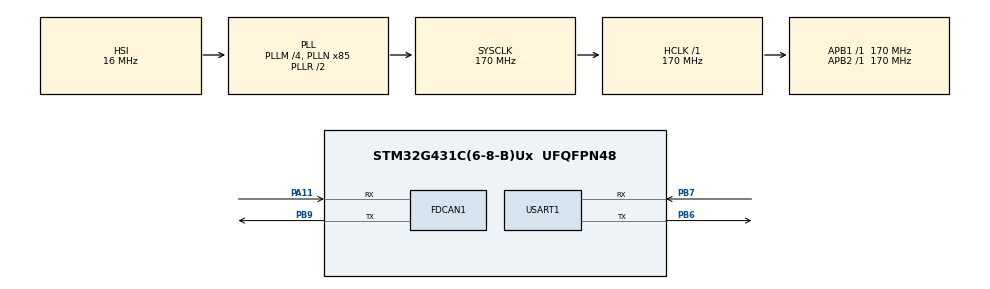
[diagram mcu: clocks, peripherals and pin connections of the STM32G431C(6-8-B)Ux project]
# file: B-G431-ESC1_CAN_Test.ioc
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FDCAN1.CalculateBaudRateNominal=500000
FDCAN1.CalculateTimeBitNominal=2000
FDCAN1.CalculateTimeQuantumNominal=100.0
FDCAN1.NominalPrescaler=17
FDCAN1.NominalTimeSeg1=17
FDCAN1.NominalTimeSeg2=2
FREERTOS.Tasks01=defaultTask,0,128,StartDefaultTask,Default,NULL,Dynamic,NULL,NULL
FREERTOS.configTOTAL_HEAP_SIZE=16384
Mcu.Family=STM32G4
Mcu.Name=STM32G431C(6-8-B)Ux
Mcu.Package=UFQFPN48
NVIC.FDCAN1_IT0_IRQn=true\:5\:0\:true\:false\:true\:true\:true\:true\:true
NVIC.FDCAN1_IT1_IRQn=true\:5\:0\:true\:false\:true\:true\:true\:true\:true
NVIC.PriorityGroup=NVIC_PRIORITYGROUP_4
NVIC.TIM1_UP_TIM16_IRQn=true\:15\:0\:false\:false\:true\:false\:false\:true\:true
NVIC.TimeBase=TIM1_UP_TIM16_IRQn
NVIC.TimeBaseIP=TIM1
NVIC.USART1_IRQn=true\:5\:0\:true\:false\:true\:true\:true\:true\:true
PA11.Mode=FDCAN_Activate
PA11.Signal=FDCAN1_RX
PB6.Mode=Asynchronous
PB6.Signal=USART1_TX
PB7.Mode=Asynchronous
PB7.Signal=USART1_RX
PB9.Mode=FDCAN_Activate
PB9.Signal=FDCAN1_TX
ProjectManager.HeapSize=0x200
ProjectManager.StackSize=0x400
ProjectManager.TargetToolchain=CMake
RCC.ADC12Freq_Value=170000000
RCC.AHBFreq_Value=170000000
RCC.APB1Freq_Value=170000000
RCC.APB1TimFreq_Value=170000000
RCC.APB2Freq_Value=170000000
RCC.APB2TimFreq_Value=170000000
RCC.CortexFreq_Value=170000000
RCC.EXTERNAL_CLOCK_VALUE=12288000
RCC.HCLKFreq_Value=170000000
RCC.HSE_VALUE=8000000
RCC.HSI48_VALUE=48000000
RCC.HSI_VALUE=16000000
RCC.LSE_VALUE=32768
RCC.PLLM=RCC_PLLM_DIV4
RCC.PLLN=85
RCC.SYSCLKFreq_VALUE=170000000
RCC.SYSCLKSource=RCC_SYSCLKSOURCE_PLLCLK
RCC.USBFreq_Value=170000000
RCC.VCOOutputFreq_Value=340000000
USART1.VirtualMode-Asynchronous=VM_ASYNC
VP_FREERTOS_VS_CMSIS_V1.Mode=CMSIS_V1
VP_SYS_VS_DBSignals.Mode=DisableDeadBatterySignals
VP_SYS_VS_tim1.Mode=TIM1
board=custom

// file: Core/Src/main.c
/* USER CODE BEGIN Header */
/**
  ******************************************************************************
  * @file           : main.c
  * @brief          : Main program body
  ******************************************************************************
  * @attention
  *
  * Copyright (c) 2026 STMicroelectronics.
  * All rights reserved.
  *
  * This software is licensed under terms that can be found in the LICENSE file
  * in the root directory of this software component.
  * If no LICENSE file comes with this software, it is provided AS-IS.
  *
  ******************************************************************************
  */
/* USER CODE END Header */
#include "main.h"
#include "cmsis_os.h"
#include "fdcan.h"
#include "usart.h"
#include "gpio.h"

/* USER CODE BEGIN Includes */
#include "slave_driver.h"
#include "commander.h"
#include "stdio.h"
/* USER CODE END Includes */

/* USER CODE BEGIN PV */
TaskHandle_t task_esc_init_handle;
TaskHandle_t task_slave_monitor_handle;
TaskHandle_t task_handle_commands;

__attribute__((used)) SlaveState_t esc_status_0 = {0};
__attribute__((used)) SlaveState_t esc_status_1 = {0};

SlaveState_t* const esc_status_ptr[2] = {&esc_status_0, &esc_status_1};

/* USER CODE END PV */

void SystemClock_Config(void);
void MX_FREERTOS_Init(void);
/* USER CODE BEGIN PFP */
static void commander_task(void *pvParameters);
static void esc_init_task(void *pvParameters);
static void slave_monitor_task(void *pvParameters);
/* USER CODE END PFP */

/* USER CODE BEGIN 0 */
int _write(int file, char *ptr, int len)
{
    uint8_t cr = '\r';
    for (int i = 0; i < len; i++)
    {
        if (ptr[i] == '\n'){
          HAL_UART_Transmit(&huart1, &cr, 1, HAL_MAX_DELAY);
          // ITM_SendChar('\r');
        }
        // ITM_SendChar(ptr[i]);
        HAL_UART_Transmit(&huart1, (uint8_t *)&ptr[i], 1, HAL_MAX_DELAY);
    }
    return len;
}
/* USER CODE END 0 */

int main(void)
{

  /* USER CODE BEGIN 1 */
  BaseType_t status;
  /* USER CODE END 1 */

  /* MCU Configuration--------------------------------------------------------*/

  /* Reset of all peripherals, Initializes the Flash interface and the Systick. */
  HAL_Init();

  /* Configure the system clock */
  SystemClock_Config();

  /* Initialize all configured peripherals */
  MX_GPIO_Init();
  MX_FDCAN1_Init();
  MX_USART1_UART_Init();
  /* USER CODE BEGIN 2 */
  printf("Starting system...\r\n");

  enableTerminator(true);

  SlaveDriver_Init(&hfdcan1);

  Commander_Init(&huart1);

  status = xTaskCreate(commander_task, "CommanderTask", 1024, NULL, 2, &task_handle_commands);
  configASSERT(status == pdPASS);

  // Zadanie inicjalizacji ESC
  status = xTaskCreate(esc_init_task, "ESC_Init_Task", 1024, NULL, 6, &task_esc_init_handle);
  configASSERT(status == pdPASS);

  status = xTaskCreate(slave_monitor_task, "SlaveMonitorTask", 1024, NULL, 5, &task_slave_monitor_handle);
  configASSERT(status == pdPASS);

  /* USER CODE END 2 */

  /* Call init function for freertos objects (in cmsis_os2.c) */
  MX_FREERTOS_Init();

  /* Start scheduler */
  osKernelStart();

  /* We should never get here as control is now taken by the scheduler */

  /* Infinite loop */
  while (1)
  {

  }
}

void SystemClock_Config(void)
{
  RCC_OscInitTypeDef RCC_OscInitStruct = {0};
  RCC_ClkInitTypeDef RCC_ClkInitStruct = {0};

  /** Configure the main internal regulator output voltage
  */
  HAL_PWREx_ControlVoltageScaling(PWR_REGULATOR_VOLTAGE_SCALE1_BOOST);

  /** Initializes the RCC Oscillators according to the specified parameters
  * in the RCC_OscInitTypeDef structure.
  */
  RCC_OscInitStruct.OscillatorType = RCC_OSCILLATORTYPE_HSI;
  RCC_OscInitStruct.HSIState = RCC_HSI_ON;
  RCC_OscInitStruct.HSICalibrationValue = RCC_HSICALIBRATION_DEFAULT;
  RCC_OscInitStruct.PLL.PLLState = RCC_PLL_ON;
  RCC_OscInitStruct.PLL.PLLSource = RCC_PLLSOURCE_HSI;
  RCC_OscInitStruct.PLL.PLLM = RCC_PLLM_DIV4;
  RCC_OscInitStruct.PLL.PLLN = 85;
  RCC_OscInitStruct.PLL.PLLP = RCC_PLLP_DIV2;
  RCC_OscInitStruct.PLL.PLLQ = RCC_PLLQ_DIV2;
  RCC_OscInitStruct.PLL.PLLR = RCC_PLLR_DIV2;
  if (HAL_RCC_OscConfig(&RCC_OscInitStruct) != HAL_OK)
  {
    Error_Handler();
  }

  /** Initializes the CPU, AHB and APB buses clocks
  */
  RCC_ClkInitStruct.ClockType = RCC_CLOCKTYPE_HCLK|RCC_CLOCKTYPE_SYSCLK
                              |RCC_CLOCKTYPE_PCLK1|RCC_CLOCKTYPE_PCLK2;
  RCC_ClkInitStruct.SYSCLKSource = RCC_SYSCLKSOURCE_PLLCLK;
  RCC_ClkInitStruct.AHBCLKDivider = RCC_SYSCLK_DIV1;
  RCC_ClkInitStruct.APB1CLKDivider = RCC_HCLK_DIV1;
  RCC_ClkInitStruct.APB2CLKDivider = RCC_HCLK_DIV1;

  if (HAL_RCC_ClockConfig(&RCC_ClkInitStruct, FLASH_LATENCY_4) != HAL_OK)
  {
    Error_Handler();
  }
}

/* USER CODE BEGIN 4 */
static void commander_task(void* pvParameters) {
  for (;;) {
      Commander_Process();
      vTaskDelay(pdMS_TO_TICKS(20));
  }
}

static void esc_init_task(void *pvParameters)
{
  (void)pvParameters;
#if ONLY_SHIELD
  // logger(LOG_ERROR, "No shield detected");
  vTaskDelete(NULL);
#endif
  // logger(LOG_INFO, "Initializing ESC...");
  SlaveDriver_InitESCs();
  // logger(LOG_INFO, "ESC Initialized.");
  vTaskDelete(NULL);
}

static void slave_monitor_task(void *pvParameters)
{
  (void)pvParameters;
#if ONLY_SHIELD
  // logger(LOG_ERROR, "No Shield detected");
  vTaskDelete(NULL);
#endif

  while (1)
  {
    ulTaskNotifyTake(pdTRUE, portMAX_DELAY); // Notify z callbacku CAN

    // if (controller_state != WAITING && controller_state != CALIBRATE_TORQUE) {
    //   continue;
    // }

    // Sprawdź stan wszystkich ESC
    for (int role = 0; role < NUM_SLAVES; role++)
    {

      SlaveDriver_GetStateCopy_RTOS((SlaveRole_t)role, esc_status_ptr[role]);

      // if (esc_status[role].last_heartbeat_tick == 0 ||
      //     (HAL_GetTick() - esc_status[role].last_heartbeat_tick) > 2000)
      // {
      //   // logger(LOG_ERROR, "Motor %d lost heartbeat!", role);
      //   SlaveDriver_StopAll();
      //   // disarm();

      //   break;
      // }

      // if (esc_status[role].occurred_faults != MOTOR_FAULT_NONE)
      // {
      //   if (esc_status[role].axis_error != MOTOR_FAULT_NONE)
      //   {
      //     // logger(LOG_ERROR, "Motor %d Axis Error: 0x%X", role, esc_status[role].axis_error);

      //     // logger(LOG_INFO, "System przechodzi w stan awaryjny (ERROR). Zatrzymywanie silnikow.");
      //     SlaveDriver_StopAll();
      //     // disarm();
      //     break;
      //   }
      // }
    }
  }
}
/* USER CODE END 4 */

void HAL_TIM_PeriodElapsedCallback(TIM_HandleTypeDef *htim)
{
  if (htim->Instance == TIM1)
  {
    HAL_IncTick();
  }
}

void Error_Handler(void)
{
  __disable_irq();
  while (1)
  {
  }
}

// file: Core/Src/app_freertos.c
/* USER CODE BEGIN Header */
/**
  ******************************************************************************
  * File Name          : app_freertos.c
  * Description        : Code for freertos applications
  ******************************************************************************
  * @attention
  *
  * Copyright (c) 2026 STMicroelectronics.
  * All rights reserved.
  *
  * This software is licensed under terms that can be found in the LICENSE file
  * in the root directory of this software component.
  * If no LICENSE file comes with this software, it is provided AS-IS.
  *
  ******************************************************************************
  */
/* USER CODE END Header */

#include "FreeRTOS.h"
#include "task.h"
#include "main.h"
#include "cmsis_os.h"

osThreadId defaultTaskHandle;

void StartDefaultTask(void const * argument);

void MX_FREERTOS_Init(void); /* (MISRA C 2004 rule 8.1) */

void MX_FREERTOS_Init(void) {

  /* Create the thread(s) */
  /* definition and creation of defaultTask */
  osThreadDef(defaultTask, StartDefaultTask, osPriorityNormal, 0, 128);
  defaultTaskHandle = osThreadCreate(osThread(defaultTask), NULL);

}

void StartDefaultTask(void const * argument)
{
  for(;;)
  {
    osDelay(1);
  }
}
